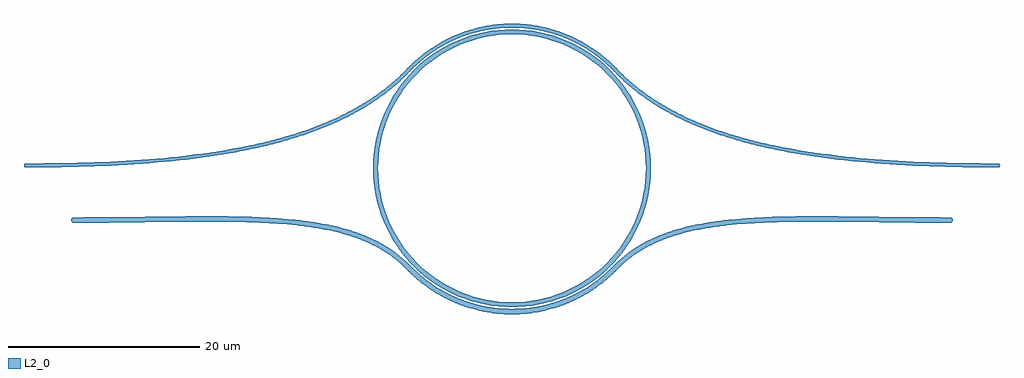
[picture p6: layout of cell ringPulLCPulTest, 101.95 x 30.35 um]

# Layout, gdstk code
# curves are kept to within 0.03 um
import gdstk
lib = gdstk.Library(unit=1e-6, precision=1e-09)
def P(c, l, *ps):  # polygons
    for p in ps: c.add(gdstk.Polygon(p, *l))
L2_0 = (2, 0)

ringpullcpultest = lib.new_cell('ringPulLCPulTest')
P(ringpullcpultest, L2_0, [(10,-34.5),(8.579,-34.43),(7.171,-34.221),(5.791,-33.876),(4.451,-33.396),(3.165,-32.788),(1.944,-32.056),(0.801,-31.209),(-0.253,-30.253),(-1.209,-29.199),(-2.056,-28.056),(-2.788,-26.835),(-3.396,-25.549),(-3.876,-24.209),(-4.221,-22.829),(-4.43,-21.421),(-4.5,-20),(-4.43,-18.579),(-4.221,-17.171),(-3.876,-15.791),(-3.396,-14.451),(-2.788,-13.165),(-2.056,-11.944),(-1.209,-10.801),(-0.253,-9.747),(0.801,-8.791),(1.944,-7.944),(3.165,-7.212),(4.451,-6.604),(5.791,-6.124),(7.171,-5.779),(8.579,-5.57),(10,-5.5),(11.421,-5.57),(12.829,-5.779),(14.209,-6.124),(15.549,-6.604),(16.835,-7.212),(18.056,-7.944),(19.199,-8.791),(20.253,-9.747),(21.209,-10.801),(22.056,-11.944),(22.788,-13.165),(23.396,-14.451),(23.876,-15.791),(24.221,-17.171),(24.43,-18.579),(24.5,-20),(24,-20),(23.933,-18.628),(23.731,-17.269),(23.397,-15.936),(22.934,-14.642),(22.347,-13.4),(21.641,-12.222),(21.245,-11.66),(20.822,-11.118),(19.899,-10.101),(18.882,-9.178),(18.34,-8.755),(17.778,-8.359),(16.6,-7.653),(15.358,-7.066),(14.716,-6.818),(13.402,-6.42),(12.731,-6.269),(11.372,-6.067),(10,-6),(9.313,-6.017),(8.628,-6.067),(7.269,-6.269),(5.936,-6.603),(5.284,-6.818),(4.014,-7.344),(3.4,-7.653),(2.222,-8.359),(1.66,-8.755),(1.118,-9.178),(0.101,-10.101),(-0.822,-11.118),(-1.641,-12.222),(-2.008,-12.803),(-2.656,-14.014),(-3.182,-15.284),(-3.397,-15.936),(-3.731,-17.269),(-3.933,-18.628),(-3.983,-19.313),(-4,-20),(-3.933,-21.372),(-3.731,-22.731),(-3.397,-24.064),(-3.182,-24.716),(-2.656,-25.986),(-2.347,-26.6),(-1.641,-27.778),(-0.822,-28.882),(-0.373,-29.402),(0.598,-30.373),(1.66,-31.245),(2.222,-31.641),(3.4,-32.347),(4.642,-32.934),(5.936,-33.397),(7.269,-33.731),(7.946,-33.848),(9.313,-33.983),(10,-34),(11.372,-33.933),(12.731,-33.731),(14.064,-33.397),(14.716,-33.182),(15.986,-32.656),(16.6,-32.347),(17.778,-31.641),(18.882,-30.822),(19.402,-30.373),(20.373,-29.402),(21.245,-28.34),(22.008,-27.197),(22.656,-25.986),(23.182,-24.716),(23.397,-24.064),(23.731,-22.731),(23.848,-22.054),(23.933,-21.372),(24,-20),(24.5,-20),(24.43,-21.421),(24.221,-22.829),(23.876,-24.209),(23.396,-25.549),(22.788,-26.835),(22.056,-28.056),(21.209,-29.199),(20.253,-30.253),(19.199,-31.209),(18.056,-32.056),(16.835,-32.788),(15.549,-33.396),(14.209,-33.876),(12.829,-34.221),(11.421,-34.43)],
  [(-40.774,-19.907),(-40.774,-19.507),(-36.223,-19.46),(-31.101,-19.27),(-27.111,-18.994),(-23.368,-18.604),(-20.551,-18.204),(-18.212,-17.788),(-15.683,-17.234),(-13.312,-16.594),(-11.089,-15.864),(-9.013,-15.041),(-7.315,-14.241),(-5.507,-13.232),(-4.04,-12.264),(-2.68,-11.215),(-1.773,-10.414),(-0.256,-8.917),(0.84,-7.995),(2.019,-7.181),(3.185,-6.525),(4.76,-5.838),(6.404,-5.334),(8.189,-5.009),(10,-4.9),(10,-5.3),(8.237,-5.406),(6.409,-5.745),(4.725,-6.279),(3.2,-6.967),(2.073,-7.62),(1.009,-8.37),(0.084,-9.148),(-1.514,-10.719),(-2.624,-11.687),(-4.018,-12.738),(-5.298,-13.573),(-7.128,-14.594),(-9.101,-15.514),(-10.946,-16.238),(-13.193,-16.976),(-15.898,-17.697),(-18.458,-18.243),(-21.521,-18.757),(-24.781,-19.17),(-27.845,-19.456),(-31.9,-19.711),(-36.208,-19.859)],
  [(60.774,-19.907),(56.208,-19.859),(51.9,-19.711),(47.845,-19.456),(44.781,-19.17),(41.521,-18.757),(38.458,-18.243),(35.898,-17.697),(33.193,-16.976),(30.946,-16.238),(29.101,-15.514),(27.128,-14.594),(25.298,-13.573),(24.018,-12.738),(22.624,-11.687),(21.514,-10.719),(19.916,-9.148),(18.991,-8.37),(17.927,-7.62),(16.8,-6.967),(15.275,-6.279),(13.591,-5.745),(11.763,-5.406),(10,-5.3),(10,-4.9),(11.811,-5.009),(13.596,-5.334),(15.24,-5.838),(16.815,-6.525),(17.981,-7.181),(19.16,-7.995),(20.256,-8.917),(21.773,-10.414),(22.68,-11.215),(24.04,-12.264),(25.507,-13.232),(27.315,-14.241),(29.013,-15.041),(31.089,-15.864),(33.312,-16.594),(35.683,-17.234),(38.212,-17.788),(40.551,-18.204),(43.368,-18.604),(47.111,-18.994),(51.101,-19.27),(56.223,-19.46),(60.774,-19.507)],
  [(55.758,-25.692),(55.758,-25.142),(55.865,-25.164),(55.952,-25.223),(56.011,-25.31),(56.033,-25.417),(56.011,-25.524),(55.952,-25.612),(55.865,-25.67)],
  [(10,-35.25),(8.281,-35.153),(6.677,-34.884),(5.202,-34.476),(3.601,-33.843),(2.328,-33.18),(1.046,-32.345),(-0.075,-31.448),(-1.995,-29.649),(-2.795,-29.043),(-3.642,-28.499),(-4.723,-27.923),(-6.073,-27.351),(-7.52,-26.877),(-9.064,-26.493),(-10.466,-26.228),(-12.449,-25.958),(-14.463,-25.777),(-16.276,-25.673),(-21.715,-25.572),(-35.758,-25.692),(-35.97,-25.592),(-36.027,-25.362),(-35.933,-25.205),(-35.758,-25.142),(-35.758,-25.692),(-35.758,-25.142),(-23.292,-25.027),(-18.646,-25.049),(-15.78,-25.146),(-13.435,-25.307),(-11.089,-25.577),(-8.908,-25.966),(-7.325,-26.364),(-6.047,-26.778),(-4.841,-27.265),(-3.524,-27.933),(-2.472,-28.599),(-1.649,-29.222),(0.151,-30.913),(1.146,-31.735),(2.367,-32.563),(3.582,-33.225),(5.113,-33.864),(6.617,-34.306),(8.251,-34.596),(10,-34.7)],
  [(10,-35.25),(10,-34.7),(11.749,-34.596),(13.383,-34.306),(14.887,-33.864),(16.418,-33.225),(17.633,-32.563),(18.854,-31.735),(19.849,-30.913),(21.649,-29.222),(22.472,-28.599),(23.524,-27.933),(24.841,-27.265),(26.047,-26.778),(27.325,-26.364),(28.908,-25.966),(30.838,-25.614),(32.635,-25.385),(34.869,-25.198),(37.669,-25.073),(43.292,-25.027),(55.758,-25.142),(55.758,-25.692),(42.499,-25.573),(37.215,-25.637),(34.908,-25.747),(32.449,-25.958),(30.466,-26.228),(28.837,-26.543),(27.307,-26.939),(26.073,-27.351),(24.723,-27.923),(23.642,-28.499),(22.795,-29.043),(21.995,-29.649),(20.075,-31.448),(18.954,-32.345),(17.672,-33.18),(16.399,-33.843),(14.798,-34.476),(13.323,-34.884),(11.719,-35.153)],
  [(60.774,-19.907),(60.774,-19.507),(60.851,-19.523),(60.915,-19.566),(60.958,-19.629),(60.974,-19.707),(60.958,-19.785),(60.915,-19.849),(60.851,-19.892)],
  [(-40.774,-19.907),(-40.851,-19.892),(-40.915,-19.849),(-40.958,-19.785),(-40.974,-19.707),(-40.958,-19.629),(-40.915,-19.566),(-40.851,-19.523),(-40.774,-19.507)])

lib.write_gds('ringPulLCPulTest.gds')
